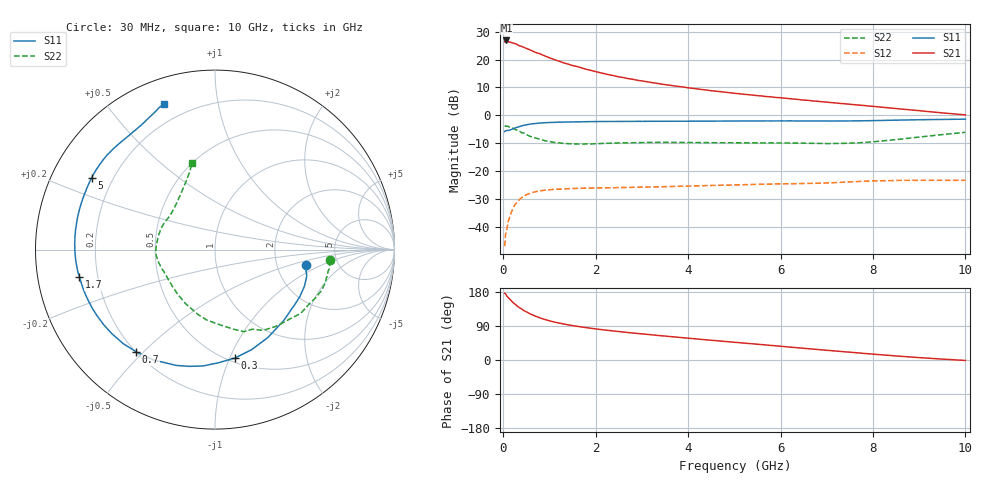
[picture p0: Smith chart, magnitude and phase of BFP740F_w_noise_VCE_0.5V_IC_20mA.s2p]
! (c) 2012  Infineon Technologies AG, Munich
! Infineon Technologies  Discrete & RF Semiconductors
! BFP740F
! VCE =  0.5 V,  IC =  20 mA
! Common Emitter S-Parameters:  Oct 2012
# GHz  S  MA  R  50
!  f  S11  S21  S12  S22
! GHz  MAG  ANG  MAG  ANG  MAG  ANG  MAG  ANG
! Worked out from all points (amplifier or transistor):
!   99 points, 30 MHz to 10 GHz, reference 50 ohm
!   highest |S21| = 26.8 dB at 70 MHz (marker M1)
!   |S21| within 3 dB of that: start of sweep to 524.2 MHz
!   unconditionally stable (mu >= 1): start of sweep to 89.19 MHz; 3.615 GHz to end of sweep
!   at 350 MHz: K = 0.37, MSG = 27.5 dB, |S12| = -30.1 dB
!   at 3.5 GHz: K = 0.98, MSG = 18.2 dB, |S12| = -25.5 dB
!   at 10 GHz: K = 1.79, MAG = 6.6 dB, |S12| = -23.2 dB
!   lowest NFmin = 0.64 dB at 450 MHz
!   S11 on the Smith chart (normalised r, x): 30 MHz: 2.94, -0.70; 300 MHz: 0.54, -1.05; 700 MHz: 0.20, -0.48; 1.7 GHz: 0.13, -0.10; 5 GHz: 0.12, +0.27; 10 GHz: 0.11, +0.70
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0.03  0.5159 -9.8  20.76 176.4  0.0046 54.0  0.6421 -5.4
0.05  0.5317 -15.9  21.6 174.5  0.0075 59.2  0.6474 -9.2
0.07  0.5385 -22.5  21.93 170.6  0.0084 61.4  0.6441 -12.9
0.1  0.5395 -32.0  21.25 165.7  0.0114 65.3  0.6377 -18.9
0.12  0.54 -38.1  20.67 163.1  0.0138 63.9  0.629 -22.9
0.2  0.5715 -59.0  19.78 152.9  0.0209 59.3  0.5957 -36.5
0.3  0.6142 -79.6  18.6 142.7  0.0282 52.3  0.5472 -51.2
0.35  0.6307 -88.2  17.61 138.2  0.0313 48.5  0.5242 -59.2
0.45  0.6665 -102.6  16.46 130.1  0.0364 42.9  0.4849 -70.6
0.6  0.7042 -119.2  14.63 120.8  0.0411 35.7  0.4168 -87.3
0.7  0.7191 -127.6  13.39 115.5  0.0433 31.9  0.3957 -96.5
0.9  0.7413 -140.7  11.59 106.9  0.0461 26.2  0.3536 -112.3
1.1  0.7533 -150.5  9.996 100.3  0.0478 22.4  0.3299 -125.2
1.4  0.7641 -160.9  8.297 92.9  0.049 18.9  0.3136 -139.4
1.7  0.7706 -168.6  7.066 87.1  0.0499 16.7  0.3076 -150.8
2.5  0.7824 177.6  4.9 75.1  0.0514 13.7  0.3215 -167.4
3.4  0.7867 166.4  3.664 64.2  0.0531 12.8  0.331 -176.5
5  0.7953 149.9  2.492 46.8  0.0574 11.6  0.3248 168.8
5.1  0.7958 149.1  2.45 45.8  0.0575 11.6  0.3244 167.7
6.7  0.7967 133.5  1.816 28.8  0.0611 10.2  0.3174 149.8
8.5  0.824 116.1  1.327 10.7  0.0688 6.1  0.3701 120.3
10  0.8588 109.4  1.024 -1.2  0.0691 2.1  0.4996 104.8
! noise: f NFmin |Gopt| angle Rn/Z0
0.45  0.64  0.06  8  1.06
0.9  0.67  0.07  22  0.67
1.5  0.72  0.07  40  0.48
1.9  0.75  0.07  56  0.4
2.4  0.8  0.07  74  0.41
3.5  0.9  0.06  94  0.37
5.5  1.08  0.09  -158  0.31
10  1.47  0.39  -107  0.12
